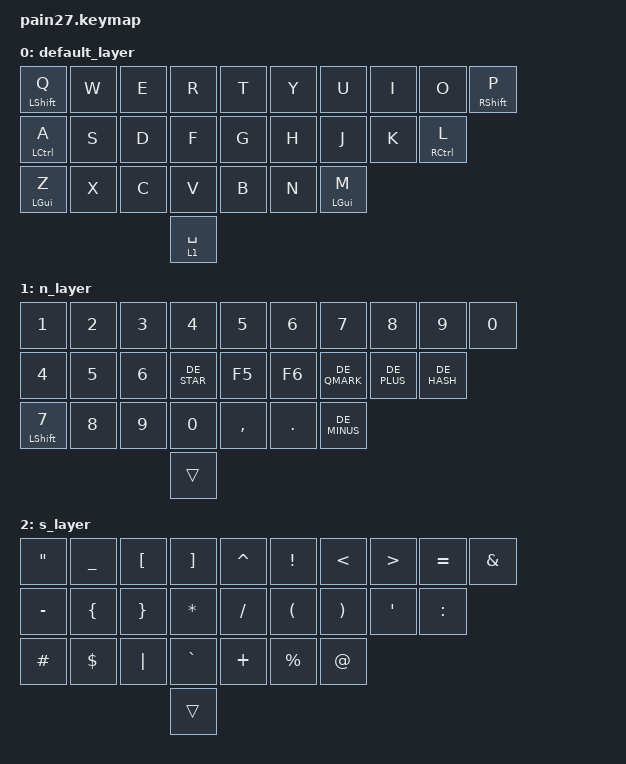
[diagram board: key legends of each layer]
#include <behaviors.dtsi>
#include <dt-bindings/zmk/keys.h>
#include <dt-bindings/zmk/outputs.h>
#include <dt-bindings/zmk/rgb.h>
#include <locale/keys_de.h>         // https://github.com/joelspadin/zmk-locales/blob/main/include/locale/keys_de.h

/ {
	chosen {
		zmk,underglow = &led_strip;
	};
};

/ {
    hm: homerow_mods {
        compatible = "zmk,behavior-hold-tap";
        label = "HOMEROW_MODS";
        #binding-cells = <2>;
        tapping_term_ms = <300>;
        flavor = "tap-preferred";
        bindings = <&kp>, <&kp>;
    };
    
    combos {
    compatible = "zmk,combos";
        //  |    - ESC -    |   W   |   E   |   - CTRL Z -  |       |       |    - BKSP -   |
        //  |       |       |   W   |   E   |       |       |       |    - DEL -    |       |
        //      0       1       2       3       4       5       6       7       8       9     

        //    |    - TAB -    |       |       |   - LEFT -    |     - UP -    |       |
        //    |   A   |   S   |   D   |       |       |    - DOWN -   |   - RIGHT -   |
        //        10      11      12      13      14      15      16      17      18        

        //        |   - CTRL X-   |   - CTRL V -  |       |       |       |
        //        |       |   - CTRL C -  |       |       |    - RET -    |
        //             19     20      21      22      23      24      25
        combo_del {
            timeout-ms = <30>;
            key-positions = <7 8>;
            bindings = <&kp DEL>;
            layers = <0 1 2>;
        };
        combo_bspc {
            timeout-ms = <30>;
            key-positions = <8 9>;
            bindings = <&kp BKSP>;
            layers = <0 1 2>;
        };
        combo_tab {
            timeout-ms = <30>;
            key-positions = <10 11>;
            bindings = <&kp TAB>;
            layers = <0 1 2>;
        };
        
        combo_apos {
            //        |  L    |
            //  |   M   |
            timeout-ms = <30>;
            key-positions = <25 18>;
            bindings = <&kp APOS>;
            layers = <0>;
        };
        combo_left {
            timeout-ms = <30>;
            key-positions = <14 15>;
            bindings = <&kp LEFT>;
            layers = <0>;
        };        
        combo_down {
            timeout-ms = <30>;
            key-positions = <15 16>;
            bindings = <&kp DOWN>;
            layers = <0>;
        };
        combo_up {
            timeout-ms = <30>;
            key-positions = <16 17>;
            bindings = <&kp UP>;
            layers = <0>;
        };
        combo_right {
            timeout-ms = <30>;
            key-positions = <17 18>;
            bindings = <&kp RIGHT>;
            layers = <0>;
        };
        combo_lgui {
            timeout-ms = <30>;
            key-positions = <19 20>;
            bindings = <&kp LGUI>;
            layers = <0>;
        };
        combo_return {
            timeout-ms = <30>;
            key-positions = <24 25>;
            bindings = <&kp RET>;
            layers = <0 1 2>;
        };
        combo_two_a {
            //  |   Q   |-----------|   P   |
            timeout-ms = <30>;
            key-positions = <0 9>;
            bindings = <&mo 2>;
            layers = <0>;
        };
        combo_two_b {
            //  |   A   |-----------|   L   |
            timeout-ms = <30>;
            key-positions = <10 18>;
            bindings = <&mo 2>;
            layers = <0>;
        };

        //Mine
        combo_esc {
            timeout-ms = <30>;
            key-positions = <0 1>;
            bindings = <&kp ESC>;
            layers = <0 1 2>;
        };
        combo_ctrlZ {
            timeout-ms = <30>;
            key-positions = <4 5>;
            bindings = <&kp LC(DE_Z)>;
            layers = <0>;
        };
        combo_ctrlX {
            timeout-ms = <30>;
            key-positions = <19 20>;
            bindings = <&kp LC(X)>;
            layers = <0>;
        };
        combo_ctrlC {
            timeout-ms = <30>;
            key-positions = <20 21>;
            bindings = <&kp LC(C)>;
            layers = <0>;
        };
        combo_ctrlV {
            timeout-ms = <30>;
            key-positions = <21 22>;
            bindings = <&kp LC(V)>;
            layers = <0>;
        };

        //Umlauts
        combo_ae {
            timeout-ms = <40>;
            key-positions = <10 2>;
            bindings = <&kp DE_A_UMLAUT>;
            layers = <0>;
        };
        combo_oe {
            timeout-ms = <40>;
            key-positions = <9 2>;
            bindings = <&kp DE_O_UMLAUT>;
            layers = <0>;
        };
        combo_ue {
            timeout-ms = <40>;
            key-positions = <6 2>;
            bindings = <&kp DE_U_UMLAUT>;
            layers = <0>;
        };
        combo_sz {
            timeout-ms = <40>;
            key-positions = <11 5>;
            bindings = <&kp DE_SZ>;
            layers = <0>;
        };
    };


    keymap {
        compatible = "zmk,keymap";
        default_layer {
            //  | Shift/Q   |   W   |   E   |   R   |   T   |   Y   |   U   |   I   |   O   | Shift/P |
            //  | Ctrl/ A   |   S   |   D   |   F   |   G   |   H   |   J   |   K   | Ctrl/L|
            //  | LGUI/ Z   |   X   |   C   |   V   |   B   |   N   | GUI/M |
            bindings = <
                &hm LSHFT Q &kp W   &kp E   &kp R   &kp T   &kp Y   &kp U   &kp I   &kp O   &hm RSHFT P
                &hm LCTRL A &kp S   &kp D   &kp F   &kp G   &kp H   &kp J   &kp K   &hm RCTRL L
                &hm LGUI Z  &kp X   &kp C   &kp V   &kp B   &kp N   &hm LGUI M
                                              &lt 1 SPACE
            >;
        };
        n_layer {
            // |   1   |   2   |   3   |   4   |   5   |   6   |   7   |   8   |   9   |   0   |
            //   |   4   |   5   |   6   |   *   |  F5   |  F6   |   ?   |   +   |   #   |
            //       |SHIFT/7|   8   |   9   |   0   |   ,   |   .   |   -   |
            bindings = <
                &kp N1  &kp N2  &kp N3  &kp N4   &kp N5   &kp N6   &kp N7   &kp N8   &kp N9  &kp N0
                &kp N4  &kp N5  &kp N6 &kp DE_STAR &kp F5 &kp F6  &kp DE_QMARK &kp DE_PLUS &kp DE_HASH
            &hm LSHIFT N7 &kp N8 &kp N9 &kp N0   &kp COMMA &kp DOT &kp DE_MINUS
                                               &trans
            >;
        };
        s_layer {
            //  |    "    |    _     |   [    |   ]     |   ^     |   !     |   <    |   >    |   =    |   §   |
            //  |    -    |    {     |   }    |   *     |   /     |   (     |   )    |   '    |   :    |
            //  |    #    |    $     |   |    |   `     |   +     |   %     |   @    |
            bindings = <
                &kp DQT   &kp UNDER  &kp LBKT &kp RBKT  &kp CARET &kp EXCL  &kp LT   &kp GT   &kp EQUAL &kp AMPS
                &kp MINUS &kp LBRC   &kp RBRC &kp STAR  &kp FSLH  &kp LPAR  &kp RPAR &kp APOS &kp COLON
                &kp HASH  &kp DOLLAR &kp PIPE &kp GRAVE &kp PLUS  &kp PRCNT &kp AT
                                                        &trans
            >;
        };

    };
};
